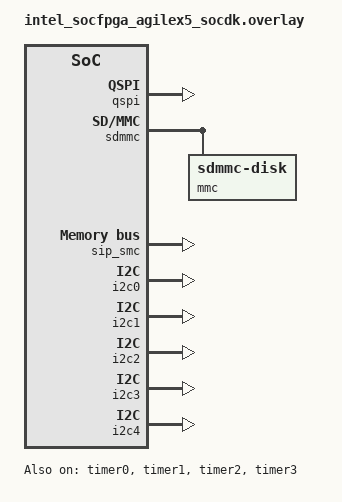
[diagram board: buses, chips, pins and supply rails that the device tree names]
/*
 * Copyright (C) 2023 Intel Corporation
 * SPDX-License-Identifier: Apache-2.0
 */

/* The overlay file should be used to enable any
 * dts nodes required by this application for this
 * board.
 */

&qspi {
	status = "okay";
};

&sdmmc {
	status = "okay";

	mmc {
		/*SD Disk Access */
		compatible = "zephyr,sdmmc-disk";
		disk-name = "SD";
		status = "okay";
	};
};

&timer0 {
	status = "okay";
};

&timer1 {
	status = "okay";
};

&timer2 {
	status = "okay";
};

&timer3 {
	status = "okay";
};

&dma0 {
	status = "okay";
};

&dma1 {
	status = "okay";
};

&sip_smc {
	status = "okay";
	zephyr,num-clients = <5>;
};

&gpio0 {
	status = "okay";
};

&gpio1 {
	status = "okay";
};

&i3c0 {
	status = "disabled";

	lps22hh0: lps22hh@FB1122330001 {
		compatible = "st,lps22hh";
		reg = <0x00 0xFB11 0x22330001>;
		odr = <1>;
		status = "disabled";
	};

	lps22hh1: lps22hh@FB1122330002 {
		compatible = "st,lps22hh";
		reg = <0x00 0xFB11 0x22330002>;
		odr = <1>;
		status = "disabled";
	};

	lps22hh2: lps22hh@500000000000000050 { /* i2c device */
		compatible = "st,lps22hh";
		reg = <0x50 0x0 0x50>;
		status = "disabled";
	};
};

&i2c0 {
	status = "okay";
};

&i2c1 {
	status = "okay";
};

&i2c2 {
	status = "okay";
};

&i2c3 {
	status = "okay";
};

&i2c4 {
	status = "okay";
};
